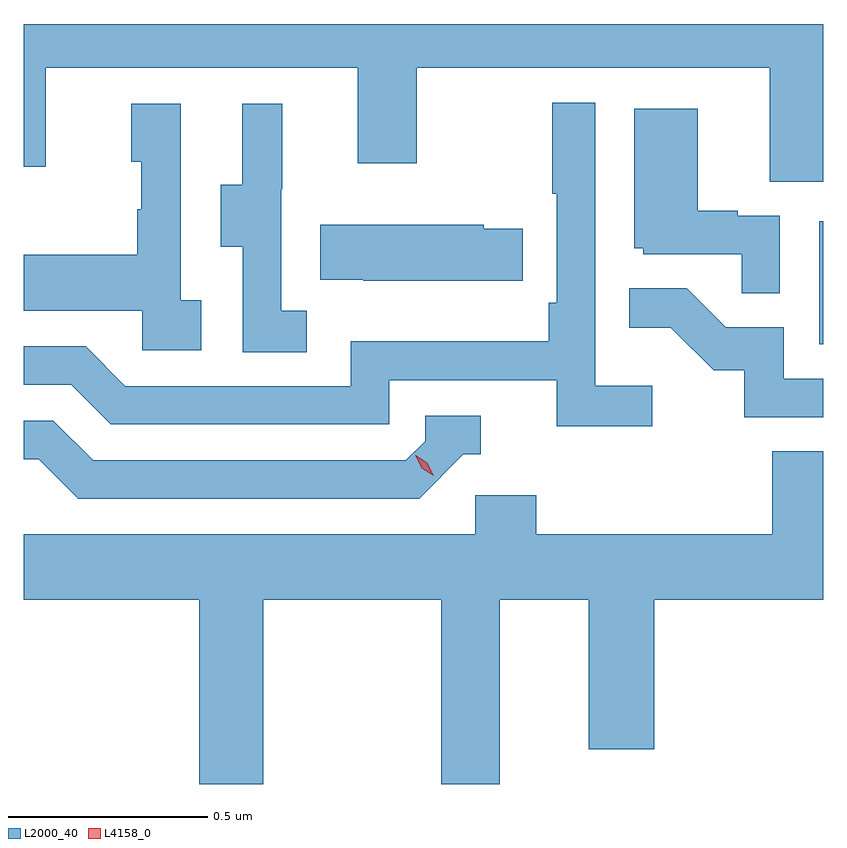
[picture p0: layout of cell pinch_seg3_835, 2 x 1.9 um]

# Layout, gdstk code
import gdstk
lib = gdstk.Library(unit=1e-6, precision=1e-09)
def R(c, l, rs):  # rectangles x0, y0, x1, y1
    for r in rs: c.add(gdstk.rectangle(r[:2], r[2:], *l))
def P(c, l, *ps):  # polygons
    for p in ps: c.add(gdstk.Polygon(p, *l))
L2000_40 = (2000, 40)
L4158_0 = (4158, 0)

pinch_seg3_835 = lib.new_cell('pinch_seg3_835')
R(pinch_seg3_835, L2000_40, [(848.9,725.532,848.91,725.839)])
P(pinch_seg3_835, L2000_40, [(848.91,726.333),(846.91,726.333),(846.91,725.976),(846.965,725.976),(846.965,726.224),(847.745,726.224),(847.745,725.985),(847.893,725.985),(847.893,726.224),(848.777,726.224),(848.777,725.938),(848.91,725.938)],
  [(848.482,725.428),(848.34,725.428),(848.34,726.136),(848.232,726.136),(848.232,725.908),(848.244,725.908),(848.244,725.635),(848.224,725.635),(848.224,725.539),(847.728,725.539),(847.728,725.427),(847.164,725.427),(847.065,725.526),(846.91,725.526),(846.91,725.43),(847.028,725.43),(847.127,725.331),(847.824,725.331),(847.824,725.442),(848.243,725.442),(848.243,725.326),(848.482,725.326)],
  [(847.354,725.642),(847.302,725.642),(847.302,726.133),(847.178,726.133),(847.178,725.988),(847.204,725.988),(847.204,725.87),(847.194,725.87),(847.194,725.755),(846.91,725.755),(846.91,725.615),(847.206,725.615),(847.206,725.517),(847.354,725.517)],
  [(847.618,725.615),(847.554,725.615),(847.554,725.919),(847.556,725.919),(847.556,726.133),(847.457,726.133),(847.457,725.931),(847.403,725.931),(847.403,725.776),(847.458,725.776),(847.458,725.512),(847.618,725.512)],
  [(848.802,725.853),(848.696,725.853),(848.696,725.866),(848.596,725.866),(848.596,726.121),(848.438,726.121),(848.438,725.772),(848.46,725.772),(848.46,725.757),(848.707,725.757),(848.707,725.659),(848.802,725.659)],
  [(848.159,725.82),(848.061,725.82),(848.061,725.83),(847.651,725.83),(847.651,725.693),(847.759,725.693),(847.759,725.69),(848.159,725.69)],
  [(848.91,725.445),(848.811,725.445),(848.811,725.574),(848.667,725.574),(848.569,725.672),(848.425,725.672),(848.425,725.573),(848.529,725.573),(848.636,725.466),(848.713,725.466),(848.713,725.349),(848.91,725.349)],
  [(848.01,725.256),(848.053,725.256),(848.053,725.352),(847.914,725.352),(847.914,725.289),(847.866,725.241),(847.083,725.241),(846.984,725.34),(846.91,725.34),(846.91,725.244),(846.947,725.244),(847.046,725.145),(847.899,725.145)],
  [(847.509,724.892),(847.954,724.892),(847.954,724.431),(848.101,724.431),(848.101,724.892),(848.324,724.892),(848.324,724.518),(848.488,724.518),(848.488,724.892),(848.91,724.892),(848.91,725.264),(848.783,725.264),(848.783,725.056),(848.192,725.056),(848.192,725.154),(848.04,725.154),(848.04,725.056),(846.91,725.056),(846.91,724.892),(847.349,724.892),(847.349,724.431),(847.509,724.431)])
P(pinch_seg3_835, L4158_0, [(847.936,725.202),(847.905,725.221),(847.889,725.254),(847.889,725.254),(847.89,725.254),(847.92,725.235),(847.936,725.202),(847.936,725.202)])

lib.write_gds('pinch_seg3_835.gds')
